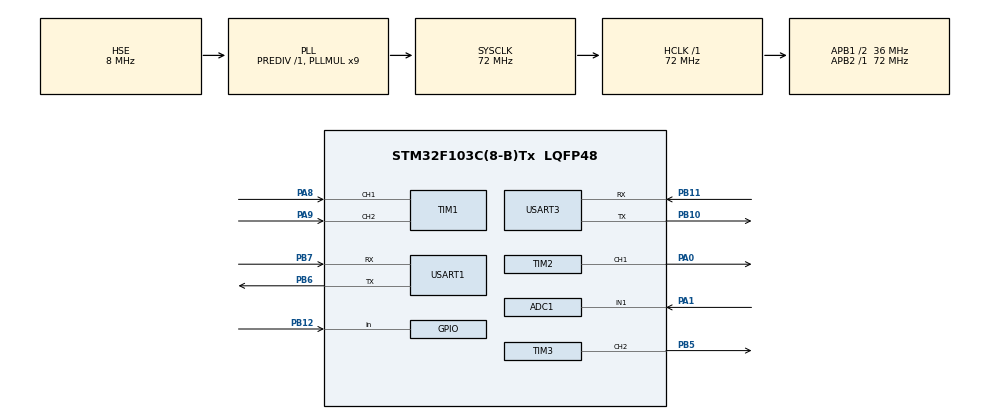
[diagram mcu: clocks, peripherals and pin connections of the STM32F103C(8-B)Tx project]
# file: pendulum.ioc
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ADC1.Channel-2\#ChannelRegularConversion=ADC_CHANNEL_1
ADC1.ContinuousConvMode=ENABLE
ADC1.NbrOfConversion=1
ADC1.NbrOfConversionFlag=1
ADC1.Rank-2\#ChannelRegularConversion=1
ADC1.SamplingTime-2\#ChannelRegularConversion=ADC_SAMPLETIME_1CYCLE_5
ADC1.master=1
Mcu.Family=STM32F1
Mcu.Name=STM32F103C(8-B)Tx
Mcu.Package=LQFP48
NVIC.PriorityGroup=NVIC_PRIORITYGROUP_4
NVIC.TIM4_IRQn=true\:0\:0\:false\:false\:true\:true\:true\:true
NVIC.USART1_IRQn=true\:0\:0\:false\:false\:true\:true\:true\:true
NVIC.USART3_IRQn=true\:0\:0\:false\:false\:true\:true\:true\:true
PA0-WKUP.Signal=S_TIM2_CH1_ETR
PA1.Signal=ADCx_IN1
PA13.Mode=Serial_Wire
PA13.Signal=SYS_JTMS-SWDIO
PA14.Mode=Serial_Wire
PA14.Signal=SYS_JTCK-SWCLK
PA8.Signal=S_TIM1_CH1
PA9.Signal=S_TIM1_CH2
PB10.Mode=Asynchronous
PB10.Signal=USART3_TX
PB11.Mode=Asynchronous
PB11.Signal=USART3_RX
PB12.Signal=GPIO_Input
PB5.Signal=S_TIM3_CH2
PB6.Mode=Asynchronous
PB6.Signal=USART1_TX
PB7.Mode=Asynchronous
PB7.Signal=USART1_RX
PD0-OSC_IN.Mode=HSE-External-Oscillator
PD0-OSC_IN.Signal=RCC_OSC_IN
PD1-OSC_OUT.Mode=HSE-External-Oscillator
PD1-OSC_OUT.Signal=RCC_OSC_OUT
ProjectManager.HeapSize=0x200
ProjectManager.StackSize=0x400
ProjectManager.TargetToolchain=MDK-ARM V5.32
RCC.ADCPresc=RCC_ADCPCLK2_DIV6
RCC.AHBFreq_Value=72000000
RCC.APB1CLKDivider=RCC_HCLK_DIV2
RCC.APB1Freq_Value=36000000
RCC.APB1TimFreq_Value=72000000
RCC.APB2Freq_Value=72000000
RCC.APB2TimFreq_Value=72000000
RCC.HCLKFreq_Value=72000000
RCC.PLLMUL=RCC_PLL_MUL9
RCC.PLLSourceVirtual=RCC_PLLSOURCE_HSE
RCC.SYSCLKFreq_VALUE=72000000
RCC.SYSCLKSource=RCC_SYSCLKSOURCE_PLLCLK
RCC.USBFreq_Value=72000000
SH.ADCx_IN1.0=ADC1_IN1,IN1
SH.S_TIM1_CH1.0=TIM1_CH1,Encoder_Interface
SH.S_TIM1_CH2.0=TIM1_CH2,Encoder_Interface
SH.S_TIM2_CH1_ETR.0=TIM2_CH1,PWM Generation1 CH1
SH.S_TIM3_CH2.0=TIM3_CH2,PWM Generation2 CH2
TIM1.EncoderMode=TIM_ENCODERMODE_TI12
TIM1.IC1Filter=2
TIM1.IC2Filter=2
TIM2.Channel-PWM\ Generation1\ CH1=TIM_CHANNEL_1
TIM2.Period=1000
TIM2.Prescaler=72-1
TIM3.Channel-PWM\ Generation2\ CH2=TIM_CHANNEL_2
TIM3.Period=1000
TIM3.Prescaler=72-1
TIM4.Period=1000
TIM4.Prescaler=72-1
USART1.VirtualMode=VM_ASYNC
USART3.VirtualMode=VM_ASYNC
VP_TIM4_VS_ClockSourceINT.Mode=Internal
board=custom

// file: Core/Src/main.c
/* USER CODE BEGIN Header */
/**
  ******************************************************************************
  * @file           : main.c
  * @brief          : Main program body
  ******************************************************************************
  * @attention
  *
  * Copyright (c) 2023 STMicroelectronics.
  * All rights reserved.
  *
  * This software is licensed under terms that can be found in the LICENSE file
  * in the root directory of this software component.
  * If no LICENSE file comes with this software, it is provided AS-IS.
  *
  ******************************************************************************
  */
/* USER CODE END Header */
#include "main.h"
#include "adc.h"
#include "tim.h"
#include "usart.h"
#include "gpio.h"

/* USER CODE BEGIN Includes */
#include "math.h"
#include "stdio.h"
#include "string.h"
#include "stdlib.h"
/* USER CODE END Includes */

/* USER CODE BEGIN PTD */
struct gesture
{
	float pulse; //脉冲数，相当于位移
	float speed; //电机旋转速度
	float voltage; //电压，模拟量
	float angle; //倒立摆角度
	float angle_last;
};
struct pidstruct  //pid参数
{
	double kp,ki,kd;
	double p,i,d;
	double thisde,lastde;
};
/* USER CODE END PTD */

/* USER CODE BEGIN PD */
uint8_t rx_buf1[1] = {0};
uint8_t rx_buf3[1] = {0};
uint16_t ADC_Value=0;
float angle_out=0;
float speed_out=0;
float position_out=0;
float angle_target=5.3;//5.3
float speed_target=0;
float position_target=0;

int mode=0;//0
int mission=0;//0

int pwm_out=0;
float cal_temp=0;
uint8_t Mission6_FLAG=1;

struct gesture gest;//当前姿态
struct pidstruct pidspeed;//速度环//逆时针为正
struct pidstruct pidangle;//角度环
struct pidstruct pidposition;//角度环
/* USER CODE END PD */

void SystemClock_Config(void);

/* USER CODE BEGIN 0 */
void DataGet1(uint8_t data)//调试
{

}

uint8_t reverse=0;
void DataGet3(uint8_t data)//蓝牙或串口屏
{

	if(data=='0')
	{
		mode=0;
		Mission6_FLAG=1;
		mission=0;
		pidspeed.p=0;
	  pidspeed.i=0;
	  pidspeed.d=0;
	  pidspeed.lastde=0;
	  pidspeed.thisde=0;
	}
	if(data=='1') mission=1;
	if(data=='2') mission=2;
	if(data=='3') mission=3;
	if(data=='4') mission=4;
	if(data=='5') mission=5;
	if(data=='6') mission=6;
	if(data=='s') mode=1;
//	if(data=='4') mode=4;
//	if(data=='r') reverse=!reverse;

}
void Wheel(int pwm)//轮子调速
{
	int direct;

	if(pwm>1000)
		pwm=1000;
	if(pwm<-1000)
		pwm=-1000;
	if(pwm>0)
		direct=1;
	if(pwm<0)
		direct=0;
	switch(direct){
	case 1:
		__HAL_TIM_SET_COMPARE(&htim2,TIM_CHANNEL_1,1000-pwm);
	  __HAL_TIM_SET_COMPARE(&htim3,TIM_CHANNEL_2,1000);
		break;
	case 0 :
		__HAL_TIM_SET_COMPARE(&htim2,TIM_CHANNEL_1,1000);
		__HAL_TIM_SET_COMPARE(&htim3,TIM_CHANNEL_2,1000+pwm);
		break;
	}
}
struct pidstruct initPID(float kp,float ki,float kd)//pid初始化
{
	struct pidstruct e;
	e.kp=kp;
	e.ki=ki;
	e.kd=kd;
	e.p=0;
	e.i=0;
	e.d=0;
	e.lastde=0;
	e.thisde=0;
	return e;
}
float PID(struct pidstruct *e,float err,float outlow,float outhigh,float a,float int_k)//计算输出
{
	float out;
	e->thisde = err*(1-a) + e->lastde*a;
	e->p = e->kp * e->thisde;
	e->i = e->i + e->ki * e->thisde;
	e->i *= int_k;
	e->d = e->kd * (e->thisde - e->lastde);
	e->lastde = e->thisde;
	out = e->p + e->i + e->d;
	if(e->i > outhigh) e->i=outhigh;
	if(e->i < outlow) e->i=outlow;
	if(out>outhigh) out=outhigh;
	if(out<outlow) out=outlow;
	return out;
}
void Read_Encoder(void)//读取计数器的值
{
		static int catch1[3];
    catch1[1]=__HAL_TIM_GET_COUNTER(&htim1);
    catch1[2]=catch1[1]-catch1[0];
	  catch1[0]=catch1[1];
    gest.pulse=0.025f*(32768-catch1[1]);
    gest.speed=-catch1[2]*0.025f;
}
void ADC_Cal()
{
	gest.angle_last = gest.angle;
	gest.voltage=ADC_Value;
	gest.angle=(ADC_Value-1470)*0.087912f-180;//左正右负
	if(gest.angle<-180)
		gest.angle=gest.angle+360;
}

void HAL_UART_RxCpltCallback(UART_HandleTypeDef *huart)  //串口中断
{
	if(huart == &huart1)
	{
		DataGet1(rx_buf1[0]);
		HAL_UART_AbortReceive_IT(&huart1);
		HAL_UART_Receive_IT(&huart1, rx_buf1, 1);
	}
	if(huart == &huart3)
	{
		DataGet3(rx_buf3[0]);
		HAL_UART_AbortReceive_IT(&huart3);
		HAL_UART_Receive_IT(&huart3, rx_buf3, 1);
	}
}

float int_k=1;
void HAL_TIM_PeriodElapsedCallback(TIM_HandleTypeDef *htim)//定时器中段
{
	static int k=0,k1=0,delay_count=0,delay_flag=1,current_x=0;
	k1++;
	if(k1>=10)
	  Read_Encoder(),k1=0;
//	if(k1>=50&&(cal_temp>0.5||cal_temp<-0.5))
//		k1=0,pidspeed.i/=1.5;		//1.58
//	else if(k1>=50&&(cal_temp>0.3||cal_temp<-0.3))
//		k1=0,pidspeed.i/=1.3;		//1.2
//	else if(k1>=50&&cal_temp<0.2&&cal_temp>-0.2)
//		k1=0,pidspeed.i/=1.1;
//	else if(k1>=50&&cal_temp<0.1&&cal_temp>-0.1)
//		k1=0;

	if(mode==0)//停止运动
	{
		k=0;
		__HAL_TIM_SET_COMPARE(&htim2,TIM_CHANNEL_1,1000);
		__HAL_TIM_SET_COMPARE(&htim3,TIM_CHANNEL_2,1000);
	}
	else if(mode==1)//倒立
	{
		if(gest.angle<(angle_target+30) && gest.angle>(angle_target-30))
		{
			k++;
			if(k==10)
			{
				//Read_Encoder();
				speed_out =PID(&pidspeed,speed_target-gest.speed,-15,15,0.7,int_k);	//0.94
				k=0;
			}
			angle_out = PID(&pidangle,angle_target-speed_out-gest.angle,-900,900,0,1);
			Wheel(angle_out);
		}
		else
		{
			k=0;
			__HAL_TIM_SET_COMPARE(&htim2,TIM_CHANNEL_1,1000);
			__HAL_TIM_SET_COMPARE(&htim3,TIM_CHANNEL_2,1000);
		}
	}
	else if(mode==2)//起摆
	{
		if(gest.angle>165 && gest.angle<180 && gest.angle_last>165 && gest.angle_last<180)
		{
			if(gest.angle>gest.angle_last)
				Wheel(-200);
			else if(gest.angle<gest.angle_last)
				Wheel(200);
		}
		else if(gest.angle<-165 && gest.angle>-180 && gest.angle_last<-165 && gest.angle_last>-180)
		{
			if(gest.angle>gest.angle_last)
				Wheel(-200);
			else if(gest.angle<gest.angle_last)
				Wheel(200);
		}
	}
	else if(mode==3)//起摆
	{
		if(gest.angle>165 && gest.angle<180 && gest.angle_last>165 && gest.angle_last<180)
		{
			if(gest.angle>gest.angle_last)
				Wheel(-140);
			else if(gest.angle<gest.angle_last)
				Wheel(140);
		}
		else if(gest.angle<-165 && gest.angle>-180 && gest.angle_last<-165 && gest.angle_last>-180)
		{
			if(gest.angle>gest.angle_last)
				Wheel(-140);
			else if(gest.angle<gest.angle_last)
				Wheel(140);
		}
	}
	if(mission==0)
	{
		delay_count=0,delay_flag=1;
	}
  else if(mission==1)
	{
		if(delay_flag==1)
		{
			Wheel(150);
			delay_count++;
			if(delay_count==500)
				delay_count=0,delay_flag=0,mode=2;
		}
		if(gest.angle>-90 && gest.angle<90)
			mode=0,mission=0;
	}
	else if(mission==2)
	{
		if(delay_flag==1)
		{
			Wheel(150);
			delay_count++;
			if(delay_count==500)
				delay_count=0,delay_flag=0,mode=2;
		}
		if(gest.angle>-10 && gest.angle<10)
			mode=0,mission=0;
	}
	else if(mission==3)
	{
		mode=1;
		mission=0;
	}
	else if(mission==4)
	{
		if(delay_flag==1)
		{
			Wheel(150);
			delay_count++;
			if(delay_count==300)
				delay_count=0,delay_flag=0,mode=3;
		}
		if(gest.angle<(angle_target+15) && gest.angle>(angle_target-15))//20
			mode=1;
		if(gest.angle>(angle_target+90) || gest.angle<(angle_target-90))
			mode=3;
	}
	else if(mission==5)
	{
		if(gest.angle<(angle_target+15) && gest.angle>(angle_target-15))
			mode=1;
		if(gest.angle>(angle_target+90) || gest.angle<(angle_target-90))
			mode=3;
	}
	else if(mission==6)
	{
		if(Mission6_FLAG)
		{
			mode=1,speed_target=0.2;
			current_x=gest.pulse+39,Mission6_FLAG=0;
		}
		if(gest.pulse>=current_x)
		{
			speed_target=0;
			mission=0,Mission6_FLAG=1;
		}

	}
}

//	if(mode==0)
//	{
//		__HAL_TIM_SET_COMPARE(&htim2,TIM_CHANNEL_1,1000);
//		__HAL_TIM_SET_COMPARE(&htim3,TIM_CHANNEL_2,1000);
//		return;
//	}
//	else if(mode==1)
//		pwm_out=100;
//	else if(mode==2)
//		pwm_out=200;
//	else if(mode==3)
//		pwm_out=300;
//	else if(mode==4)
//		pwm_out=400;
//	if(reverse)
//		pwm_out=-pwm_out;
//	Wheel(pwm_out);
/* USER CODE END 0 */

int main(void)
{

  /* MCU Configuration--------------------------------------------------------*/

  /* Reset of all peripherals, Initializes the Flash interface and the Systick. */
  HAL_Init();

  /* Configure the system clock */
  SystemClock_Config();

  /* Initialize all configured peripherals */
  MX_GPIO_Init();
  MX_TIM1_Init();
  MX_TIM2_Init();
  MX_TIM4_Init();
  MX_USART1_UART_Init();
  MX_USART3_UART_Init();
  MX_ADC1_Init();
  MX_TIM3_Init();
  /* USER CODE BEGIN 2 */
	HAL_ADCEx_Calibration_Start(&hadc1);    //AD校准

	HAL_UART_Receive_IT(&huart1,rx_buf1,1);
	HAL_UART_Receive_IT(&huart3,rx_buf3,1);
	HAL_TIM_PWM_Start(&htim2,TIM_CHANNEL_1);
	HAL_TIM_PWM_Start(&htim3,TIM_CHANNEL_2);
	HAL_TIM_Base_Start_IT(&htim4);
	HAL_TIM_Encoder_Start(&htim1,TIM_CHANNEL_ALL);

//	pidspeed=initPID(6.2,0.5,3.4);	//0.008   0.0035		//6 0.5 3.2(is able to keep for 20min)
	int_k=0.95;
	pidspeed=initPID(0,3.2,0);			//1.2
	//pidspeed=initPID(0,0,0);
	pidangle=initPID(115*0.7*0.7,0,2200*0.7*0.7);			//115*0.6=69	2200*0.6=1320
	__HAL_TIM_SET_COUNTER(&htim1,32768);
  /* USER CODE END 2 */

  /* Infinite loop */
  while (1)
  {

    /* USER CODE BEGIN 3 */
		 //Wheel(200);
		 HAL_ADC_Start(&hadc1);     //启动ADC转换
     HAL_ADC_PollForConversion(&hadc1, 50);   //等待转换完成，50为最大等待时间，单位为ms
     if(HAL_IS_BIT_SET(HAL_ADC_GetState(&hadc1), HAL_ADC_STATE_REG_EOC))
		 {
			 ADC_Value = HAL_ADC_GetValue(&hadc1);   //获取AD值
			 ADC_Cal();
		 }
//		 if(gest.speed<0.1&& gest.angle>-0.1)
//			pidspeed.i=0;
		 printf("%.2f",speed_target);
		 //printf("1");
     //HAL_Delay(200);
  }
  /* USER CODE END 3 */
}

void SystemClock_Config(void)
{
  RCC_OscInitTypeDef RCC_OscInitStruct = {0};
  RCC_ClkInitTypeDef RCC_ClkInitStruct = {0};
  RCC_PeriphCLKInitTypeDef PeriphClkInit = {0};

  /** Initializes the RCC Oscillators according to the specified parameters
  * in the RCC_OscInitTypeDef structure.
  */
  RCC_OscInitStruct.OscillatorType = RCC_OSCILLATORTYPE_HSE;
  RCC_OscInitStruct.HSEState = RCC_HSE_ON;
  RCC_OscInitStruct.HSEPredivValue = RCC_HSE_PREDIV_DIV1;
  RCC_OscInitStruct.HSIState = RCC_HSI_ON;
  RCC_OscInitStruct.PLL.PLLState = RCC_PLL_ON;
  RCC_OscInitStruct.PLL.PLLSource = RCC_PLLSOURCE_HSE;
  RCC_OscInitStruct.PLL.PLLMUL = RCC_PLL_MUL9;
  if (HAL_RCC_OscConfig(&RCC_OscInitStruct) != HAL_OK)
  {
    Error_Handler();
  }

  /** Initializes the CPU, AHB and APB buses clocks
  */
  RCC_ClkInitStruct.ClockType = RCC_CLOCKTYPE_HCLK|RCC_CLOCKTYPE_SYSCLK
                              |RCC_CLOCKTYPE_PCLK1|RCC_CLOCKTYPE_PCLK2;
  RCC_ClkInitStruct.SYSCLKSource = RCC_SYSCLKSOURCE_PLLCLK;
  RCC_ClkInitStruct.AHBCLKDivider = RCC_SYSCLK_DIV1;
  RCC_ClkInitStruct.APB1CLKDivider = RCC_HCLK_DIV2;
  RCC_ClkInitStruct.APB2CLKDivider = RCC_HCLK_DIV1;

  if (HAL_RCC_ClockConfig(&RCC_ClkInitStruct, FLASH_LATENCY_2) != HAL_OK)
  {
    Error_Handler();
  }
  PeriphClkInit.PeriphClockSelection = RCC_PERIPHCLK_ADC;
  PeriphClkInit.AdcClockSelection = RCC_ADCPCLK2_DIV6;
  if (HAL_RCCEx_PeriphCLKConfig(&PeriphClkInit) != HAL_OK)
  {
    Error_Handler();
  }
}

/* USER CODE BEGIN 4 */
int fputc(int ch, FILE *f)
{
	HAL_UART_Transmit(&huart1 ,(uint8_t*)&ch,1,10);
	return ch;
}
/* USER CODE END 4 */

void Error_Handler(void)
{
  __disable_irq();
  while (1)
  {
  }
}
